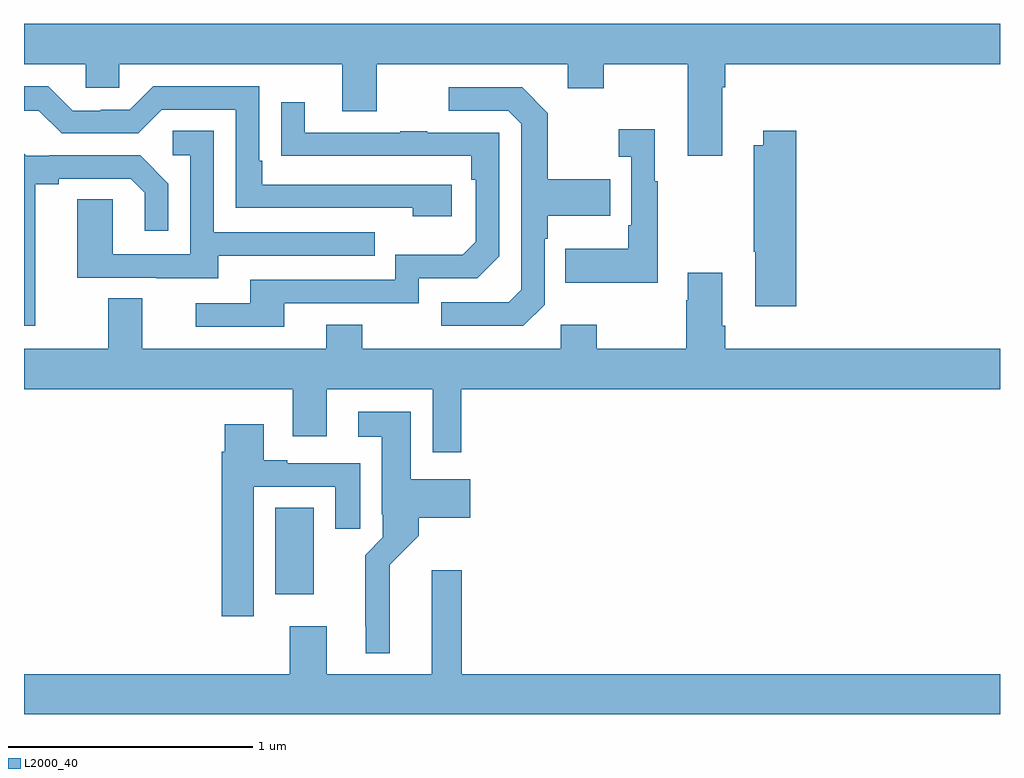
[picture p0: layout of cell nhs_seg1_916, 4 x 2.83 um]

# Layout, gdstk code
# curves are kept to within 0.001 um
import gdstk
lib = gdstk.Library(unit=1e-6, precision=1e-09)
def R(c, l, rs):  # rectangles x0, y0, x1, y1
    for r in rs: c.add(gdstk.rectangle(r[:2], r[2:], *l))
def P(c, l, *ps):  # polygons
    for p in ps: c.add(gdstk.Polygon(p, *l))
L2000_40 = (2000, 40)

nhs_seg1_916 = lib.new_cell('nhs_seg1_916')
R(nhs_seg1_916, L2000_40, [(162.029,517.59,162.187,517.946)])
P(nhs_seg1_916, L2000_40, [(161,519.764),(161.253,519.764),(161.253,519.666),(161.391,519.666),(161.391,519.764),(162.305,519.764),(162.305,519.57),(162.445,519.57),(162.445,519.764),(163.229,519.764),(163.229,519.665),(163.377,519.665),(163.377,519.764),(163.721,519.764),(163.721,519.387),(163.861,519.387),(163.861,519.668),(163.874,519.668),(163.874,519.764),(165,519.764),(165,519.928),(161,519.928)],
  [(162.754,519.27),(161.977,519.27),(161.977,519.367),(161.964,519.367),(161.964,519.672),(161.529,519.672),(161.433,519.576),(161.315,519.576),(161.315,519.573),(161.199,519.573),(161.099,519.673),(161,519.673),(161,519.573),(161.061,519.573),(161.154,519.48),(161.469,519.48),(161.565,519.576),(161.868,519.576),(161.868,519.174),(162.593,519.174),(162.593,519.14),(162.754,519.14)],
  [(163.134,518.778),(163.134,519.047),(163.147,519.047),(163.147,519.143),(163.403,519.143),(163.403,519.291),(163.147,519.291),(163.147,519.563),(163.041,519.669),(162.741,519.669),(162.741,519.573),(162.984,519.573),(163.038,519.519),(163.038,518.838),(162.987,518.787),(162.711,518.787),(162.711,518.691),(163.047,518.691)],
  [(162.067,518.784),(162.618,518.784),(162.618,518.886),(162.858,518.886),(162.948,518.976),(162.948,519.483),(162.653,519.483),(162.653,519.488),(162.541,519.488),(162.541,519.483),(162.151,519.483),(162.151,519.607),(162.055,519.607),(162.055,519.388),(162.832,519.387),(162.832,519.29),(162.852,519.29),(162.852,519.036),(162.799,518.983),(162.522,518.983),(162.522,518.88),(161.927,518.88),(161.927,518.784),(161.703,518.784),(161.703,518.688),(162.067,518.688)],
  [(163.597,519.283),(163.585,519.283),(163.585,519.496),(163.437,519.496),(163.437,519.383),(163.488,519.383),(163.488,519.103),(163.476,519.103),(163.476,519.007),(163.219,519.007),(163.219,518.867),(163.597,518.867)],
  [(161.797,518.979),(162.437,518.979),(162.437,519.075),(161.778,519.075),(161.778,519.491),(161.61,519.491),(161.61,519.39),(161.682,519.39),(161.682,518.985),(161.364,518.985),(161.364,519.209),(161.219,519.209),(161.219,518.889),(161.543,518.889),(161.543,518.885),(161.797,518.885)],
  [(164.165,519.49),(164.03,519.49),(164.03,519.43),(163.99,519.43),(163.99,518.995),(163.997,518.995),(163.997,518.772),(164.165,518.772)],
  [(161.047,519.272),(161.143,519.272),(161.143,519.294),(161.438,519.294),(161.495,519.237),(161.495,519.081),(161.592,519.081),(161.592,519.274),(161.476,519.39),(161.104,519.39),(161.104,519.387),(161.01,519.387),(161,519.397),(161,518.691),(161.047,518.691)],
  [(162.791,518.432),(165,518.432),(165,518.596),(163.874,518.596),(163.874,518.692),(163.861,518.692),(163.861,518.908),(163.721,518.908),(163.721,518.795),(163.714,518.795),(163.714,518.596),(163.347,518.596),(163.347,518.695),(163.2,518.695),(163.2,518.596),(162.387,518.596),(162.387,518.695),(162.239,518.695),(162.239,518.596),(161.485,518.596),(161.485,518.804),(161.345,518.804),(161.345,518.596),(161,518.596),(161,518.432),(162.101,518.432),(162.101,518.238),(162.241,518.238),(162.241,518.432),(162.675,518.432),(162.675,518.172),(162.791,518.172)],
  [(162.499,517.712),(162.617,517.83),(162.617,517.904),(162.829,517.904),(162.829,518.062),(162.586,518.062),(162.586,518.338),(162.369,518.338),(162.369,518.237),(162.467,518.237),(162.467,517.918),(162.471,517.918),(162.471,517.824),(162.398,517.751),(162.398,517.459),(162.401,517.459),(162.401,517.349),(162.499,517.349)],
  [(161.941,518.031),(162.275,518.031),(162.275,517.86),(162.379,517.86),(162.379,518.127),(162.079,518.127),(162.079,518.14),(161.983,518.14),(161.983,518.287),(161.822,518.287),(161.822,518.174),(161.81,518.174),(161.81,517.5),(161.941,517.5)],
  [(165,517.264),(162.794,517.264),(162.794,517.69),(162.671,517.69),(162.671,517.264),(162.241,517.264),(162.241,517.459),(162.089,517.459),(162.089,517.264),(161,517.264),(161,517.1),(165,517.1)])

lib.write_gds('nhs_seg1_916.gds')
